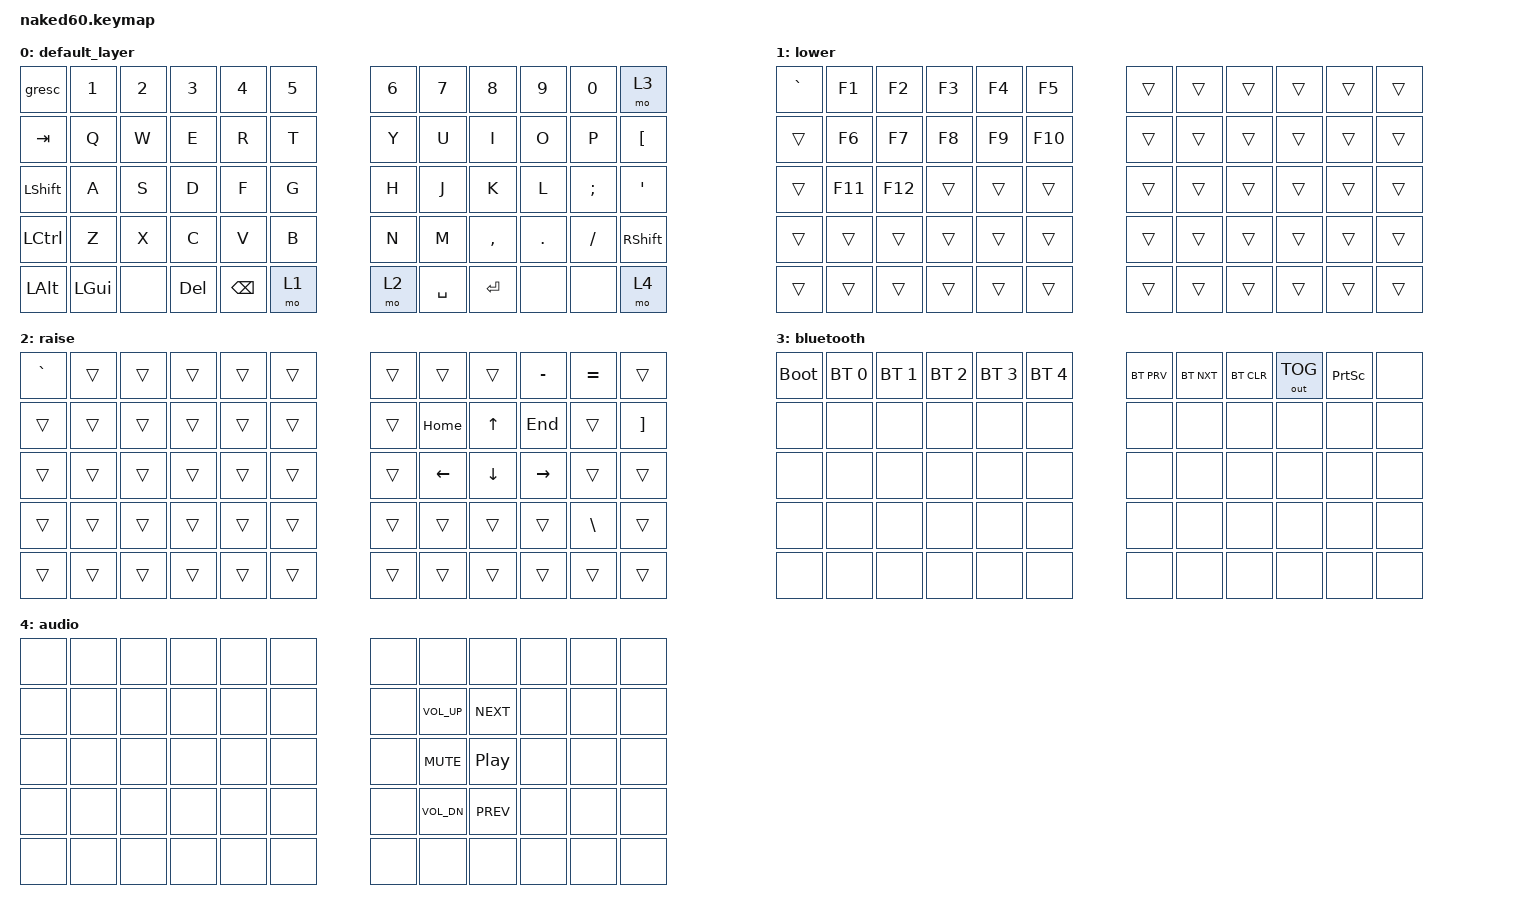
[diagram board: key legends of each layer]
#include <behaviors.dtsi>
#include <dt-bindings/zmk/keys.h>
#include <dt-bindings/zmk/bt.h>
#include <dt-bindings/zmk/outputs.h>

/ {
  behaviors {
    gresc: grave_escape {
      compatible = "zmk,behavior-mod-morph";
      label = "GRAVE_ESCAPE";
      #binding-cells = <0>;
      bindings = <&kp ESC>, <&kp GRAVE>;
      mods = <(MOD_LGUI|MOD_LSFT)>;
      keep-mods = <(MOD_LGUI|MOD_LSFT)>;
    };
  };
  
  keymap {
    compatible = "zmk,keymap";

    default_layer {
      bindings = <
        &gresc     &kp N1    &kp N2     &kp N3  &kp N4    &kp N5                  &kp N6     &kp N7   &kp N8     &kp N9   &kp N0    &mo 3
        &kp TAB    &kp Q     &kp W      &kp E   &kp R     &kp T                   &kp Y      &kp U    &kp I      &kp O    &kp P     &kp LBKT
        &kp LSHFT  &kp A     &kp S      &kp D   &kp F     &kp G                   &kp H      &kp J    &kp K      &kp L    &kp SEMI  &kp SQT
        &kp LCTRL  &kp Z     &kp X      &kp C   &kp V     &kp B                   &kp N      &kp M    &kp COMMA  &kp DOT  &kp FSLH  &kp RSHIFT
                   &kp LALT  &kp LGUI   &none   &kp DEL   &kp BSPC  &mo 1  &mo 2  &kp SPACE  &kp RET  &none      &none    &mo 4
      >;
    };

    lower {
      bindings = <
        &kp GRAVE  &kp F1   &kp F2   &kp F3  &kp F4  &kp F5                   &trans  &trans  &trans  &trans   &trans   &trans
        &trans     &kp F6   &kp F7   &kp F8  &kp F9  &kp F10                  &trans  &trans  &trans  &trans   &trans   &trans
        &trans     &kp F11  &kp F12  &trans  &trans  &trans                   &trans  &trans  &trans  &trans   &trans   &trans
        &trans     &trans   &trans   &trans  &trans  &trans                   &trans  &trans  &trans  &trans   &trans   &trans
                   &trans   &trans   &trans  &trans  &trans   &trans  &trans  &trans  &trans  &trans  &trans   &trans
      >;
    };

    raise {
      bindings = <
        &kp GRAVE  &trans  &trans  &trans  &trans  &trans                  &trans  &trans    &trans    &kp MINUS  &kp EQUAL  &trans
        &trans     &trans  &trans  &trans  &trans  &trans                  &trans  &kp HOME  &kp UP    &kp END    &trans     &kp RBKT
        &trans     &trans  &trans  &trans  &trans  &trans                  &trans  &kp LEFT  &kp DOWN  &kp RIGHT  &trans     &trans
        &trans     &trans  &trans  &trans  &trans  &trans                  &trans  &trans    &trans    &trans     &kp BSLH   &trans
                   &trans  &trans  &trans  &trans  &trans  &trans  &trans  &trans  &trans    &trans    &trans     &trans
      >;
    };

    bluetooth {
      bindings = <
        &bootloader  &bt BT_SEL 0  &bt BT_SEL 1  &bt BT_SEL 2  &bt BT_SEL 3  &bt BT_SEL 4                &bt BT_PRV  &bt BT_NXT  &bt BT_CLR  &out OUT_TOG  &kp PSCRN  &none
        &none        &none         &none         &none         &none         &none                       &none       &none       &none       &none         &none      &none
        &none        &none         &none         &none         &none         &none                       &none       &none       &none       &none         &none      &none
        &none        &none         &none         &none         &none         &none                       &none       &none       &none       &none         &none      &none
                     &none         &none         &none         &none         &none         &none  &none  &none       &none       &none       &none         &none
      >;
    };

    audio {
      bindings = <
        &none  &none  &none  &none  &none  &none                &none  &none         &none             &none  &none  &none
        &none  &none  &none  &none  &none  &none                &none  &kp C_VOL_UP  &kp C_NEXT        &none  &none  &none
        &none  &none  &none  &none  &none  &none                &none  &kp C_MUTE    &kp C_PLAY_PAUSE  &none  &none  &none
        &none  &none  &none  &none  &none  &none                &none  &kp C_VOL_DN  &kp C_PREV        &none  &none  &none
               &none  &none  &none  &none  &none  &none  &none  &none  &none         &none             &none  &none
      >;
    };
  };
};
